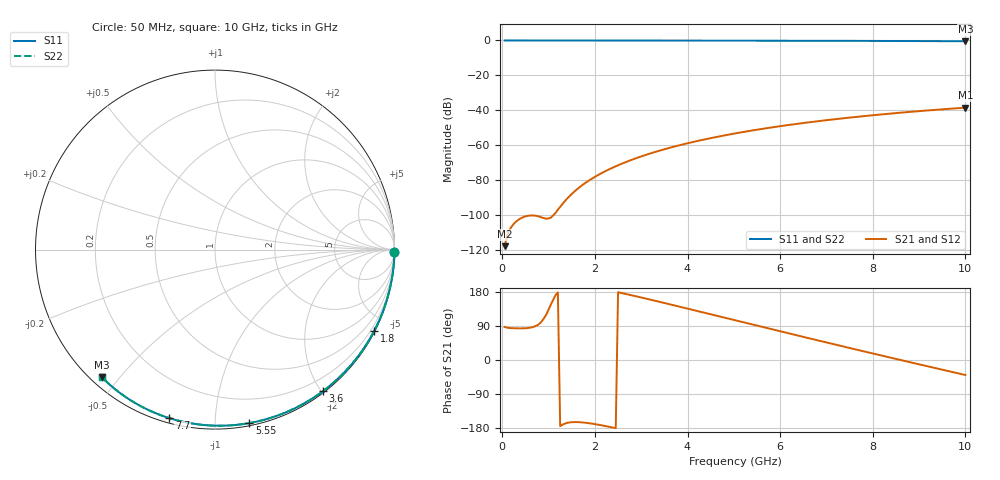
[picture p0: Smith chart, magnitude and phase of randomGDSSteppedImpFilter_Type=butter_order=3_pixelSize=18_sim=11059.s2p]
! freq	dB(S11)	phase(S11)	dB(S12)	phase(S12)
!  dB(S21)	phase(S21)	dB(S22)	phase(S22)
!S-par simulation data
#  GHz  S  DB  R 50
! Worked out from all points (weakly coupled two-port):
!   200 points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, 50 MHz to 10 GHz, reference 50 ohm
!   highest |S21| = -38.44 dB at 10 GHz (marker M1); lowest = -117.7 dB at 50 MHz (marker M2)
!   lowest |S11| = -0.4 dB at 10 GHz (marker M3), VSWR 39.05, Z = 1.54 - j22.5 ohm
!   |S11| at or under -10 dB: nowhere
!   |S22| runs from -0.4 to 0.0 dB; largest |S21 - S12| = 0
!   S11 on the Smith chart (normalised r, x): 50 MHz: open; 1.8 GHz: 0.04, -4.17; 3.6 GHz: 0.02, -2.02; 5.55 GHz: 0.02, -1.22; 7.7 GHz: 0.02, -0.76; 10 GHz: 0.03, -0.45
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0.05  -0.00 -0.8  -117.69 87.2  -117.69 87.2  -0.00 -0.8
0.9  -0.02 -13.6  -101.68 110.0  -101.68 110.0  -0.02 -13.6
1.75  -0.03 -26.2  -82.33 -165.0  -82.33 -165.0  -0.03 -26.2
1.8  -0.03 -27.0  -81.39 -165.6  -81.39 -165.6  -0.03 -27.0
1.85  -0.04 -27.7  -80.49 -166.4  -80.49 -166.4  -0.04 -27.7
1.9  -0.04 -28.4  -79.64 -167.3  -79.64 -167.3  -0.04 -28.4
2.05  -0.04 -30.6  -77.26 -170.2  -77.26 -170.2  -0.04 -30.6
2.25  -0.04 -33.5  -74.45 -174.8  -74.45 -174.8  -0.04 -33.5
2.45  -0.05 -36.4  -71.97 -179.9  -71.97 -179.9  -0.05 -36.4
2.65  -0.05 -39.3  -69.75 174.8  -69.75 174.8  -0.05 -39.3
3  -0.06 -44.3  -66.34 165.0  -66.34 165.0  -0.06 -44.3
3.4  -0.07 -50.0  -63.00 153.4  -63.00 153.4  -0.07 -50.0
3.6  -0.07 -52.7  -61.51 147.5  -61.51 147.5  -0.07 -52.7
4.3  -0.09 -62.3  -57.00 126.7  -57.00 126.7  -0.09 -62.3
5.05  -0.11 -72.3  -53.07 104.2  -53.07 104.2  -0.11 -72.3
5.55  -0.13 -78.8  -50.84 89.2  -50.84 89.2  -0.13 -78.8
6.1  -0.15 -85.7  -48.66 72.8  -48.66 72.8  -0.15 -85.7
6.7  -0.18 -93.2  -46.57 55.1  -46.57 55.1  -0.18 -93.2
7.7  -0.24 -105.2  -43.58 25.9  -43.58 25.9  -0.24 -105.2
8.35  -0.29 -112.8  -41.91 7.1  -41.91 7.1  -0.29 -112.8
9.15  -0.36 -122.0  -40.10 -15.7  -40.10 -15.7  -0.36 -122.0
10  -0.44 -131.6  -38.44 -39.7  -38.44 -39.7  -0.44 -131.6
